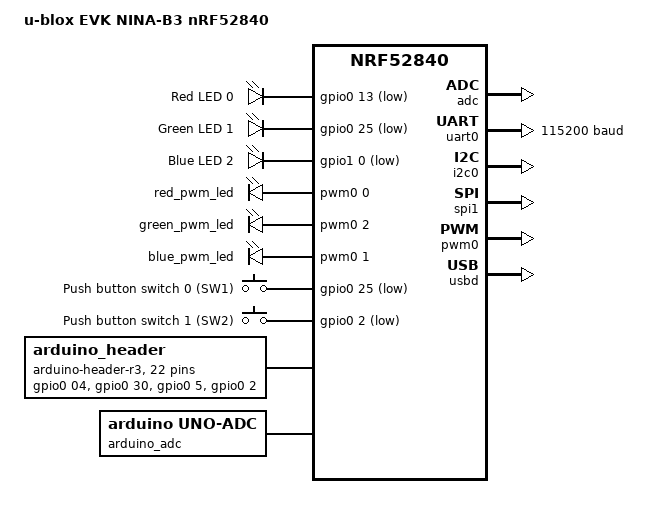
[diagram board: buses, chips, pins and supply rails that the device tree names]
/*
 * Copyright (c) 2021 u-blox AG
 *
 * SPDX-License-Identifier: Apache-2.0
 */

/dts-v1/;
#include <nordic/nrf52840_qiaa.dtsi>
#include "ubx_evkninab3_nrf52840-pinctrl.dtsi"

/ {
	model = "u-blox EVK NINA-B3 nRF52840";
	compatible = "nordic,ubx_evkninab3_nrf52840";

	chosen {
		zephyr,console = &uart0;
		zephyr,shell-uart = &uart0;
		zephyr,uart-mcumgr = &uart0;
		zephyr,bt-mon-uart = &uart0;
		zephyr,bt-c2h-uart = &uart0;
		zephyr,sram = &sram0;
		zephyr,flash = &flash0;
		zephyr,code-partition = &slot0_partition;
	};

	leds {
		compatible = "gpio-leds";
		led0: led_0 {
			gpios = <&gpio0 13 GPIO_ACTIVE_LOW>;
			label = "Red LED 0";
		};
		led1: led_1 {
			gpios = <&gpio0 25 GPIO_ACTIVE_LOW>;
			label = "Green LED 1";
		};
		led2: led_2 {
			gpios = <&gpio1 0 GPIO_ACTIVE_LOW>;
			label = "Blue LED 2";
		};
	};

	pwmleds {
		compatible = "pwm-leds";
		red_pwm_led: red_pwm_led {
			pwms = <&pwm0 0 PWM_MSEC(20) PWM_POLARITY_INVERTED>;
		};
		green_pwm_led: green_pwm_led {
			pwms = <&pwm0 2 PWM_MSEC(20) PWM_POLARITY_INVERTED>;
		};
		blue_pwm_led: blue_pwm_led {
			pwms = <&pwm0 1 PWM_MSEC(20) PWM_POLARITY_INVERTED>;
		};
	};

	buttons {
		compatible = "gpio-keys";
		button0: button_0 {
			gpios = <&gpio0 25 (GPIO_PULL_UP | \
					    GPIO_ACTIVE_LOW)>;
			label = "Push button switch 0 (SW1)";
		};
		button1: button_1 {
			gpios = <&gpio0 2 (GPIO_PULL_UP | \
					   GPIO_ACTIVE_LOW)>;
			label = "Push button switch 1 (SW2)";
		};
	};

	arduino_header: connector {
		compatible = "arduino-header-r3";
		#gpio-cells = <2>;
		gpio-map-mask = <0xffffffff 0xffffffc0>;
		gpio-map-pass-thru = <0 0x3f>;
		gpio-map = <0 0 &gpio0 04 0>,	/* A0 */
			   <1 0 &gpio0 30 0>,	/* A1 */
			   <2 0 &gpio0 5 0>,	/* A2 */
			   <3 0 &gpio0 2 0>,	/* A3 */
			   <4 0 &gpio0 28 0>,	/* A4 */
			   <5 0 &gpio0 3 0>,	/* A5 */
			   <6 0 &gpio0 29 0>,	/* D0 */
			   <7 0 &gpio1 13 0>,	/* D1 */
			   <8 0 &gpio1 12 0>,	/* D2 */
			   <9 0 &gpio0 31 0>,	/* D3 */
			   <10 0 &gpio0 13 0>,	/* D4 */
			   <11 0 &gpio0 11 0>,	/* D5 */
			   <12 0 &gpio0 9 0>,	/* D6 */
			   <13 0 &gpio0 10 0>,	/* D7 */
			   <14 0 &gpio1 9 0>,	/* D8 */
			   <15 0 &gpio0 12 0>,	/* D9 */
			   <16 0 &gpio0 14 0>,	/* D10 */
			   <17 0 &gpio0 15 0>,	/* D11 */
			   <18 0 &gpio1 0 0>,	/* D12 */
			   <19 0 &gpio0 7 0>,	/* D13 */
			   <20 0 &gpio0 16 0>,	/* D14 */
			   <21 0 &gpio0 24 0>;	/* D15 */
	};

	arduino_adc: analog-connector {
		compatible = "arduino,uno-adc";
		#io-channel-cells = <1>;
		io-channel-map = <0 &adc 2>,	/* A0 = P0.04 = AIN2 */
				 <1 &adc 6>,	/* A1 = P0.30 = AIN6 */
				 <2 &adc 3>,	/* A2 = P0.5 = AIN3 */
				 <3 &adc 0>,	/* A3 = P0.2 = AIN0 */
				 <4 &adc 4>,	/* A4 = P0.28 = AIN4 */
				 <5 &adc 1>;	/* A5 = P0.3 = AIN1 */
	};

	/* These aliases are provided for compatibility with samples */
	aliases {
		led0 = &led0;
		led1 = &led1;
		led2 = &led2;
		pwm-led0 = &red_pwm_led;
		pwm-led1 = &green_pwm_led;
		pwm-led2 = &blue_pwm_led;
		red-pwm-led = &red_pwm_led;
		green-pwm-led = &green_pwm_led;
		blue-pwm-led = &blue_pwm_led;
		sw0 = &button0;
		sw1 = &button1;
	};
};

&adc {
	status = "okay";
};

&gpiote {
	status = "okay";
};

&gpio0 {
	status = "okay";
};

&gpio1 {
	status = "okay";
};

&uart0 {
	compatible = "nordic,nrf-uarte";
	status = "okay";
	current-speed = <115200>;
	pinctrl-0 = <&uart0_default>;
	pinctrl-1 = <&uart0_sleep>;
	pinctrl-names = "default", "sleep";
};

arduino_i2c: &i2c0 {
	compatible = "nordic,nrf-twi";
	status = "okay";
	pinctrl-0 = <&i2c0_default>;
	pinctrl-1 = <&i2c0_sleep>;
	pinctrl-names = "default", "sleep";
};

&spi0 {
	compatible = "nordic,nrf-spi";
	/* Cannot be used together with i2c0. */
	/* status = "okay"; */
	pinctrl-0 = <&spi0_default>;
	pinctrl-1 = <&spi0_sleep>;
	pinctrl-names = "default", "sleep";
};

&spi1 {
	compatible = "nordic,nrf-spi";
	status = "okay";
	pinctrl-0 = <&spi1_default>;
	pinctrl-1 = <&spi1_sleep>;
	pinctrl-names = "default", "sleep";
};

&pwm0 {
	status = "okay";
	pinctrl-0 = <&pwm0_default>;
	pinctrl-1 = <&pwm0_sleep>;
	pinctrl-names = "default", "sleep";
};

&flash0 {

	partitions {
		compatible = "fixed-partitions";
		#address-cells = <1>;
		#size-cells = <1>;

		boot_partition: partition@0 {
			label = "mcuboot";
			reg = <0x00000000 0x0000C000>;
		};
		slot0_partition: partition@c000 {
			label = "image-0";
			reg = <0x0000C000 0x00067000>;
		};
		slot1_partition: partition@73000 {
			label = "image-1";
			reg = <0x00073000 0x00067000>;
		};
		scratch_partition: partition@da000 {
			label = "image-scratch";
			reg = <0x000da000 0x0001e000>;
		};

		/*
		 * The flash starting at 0x000f8000 and ending at
		 * 0x000fffff is reserved for use by the application.
		 */

		/*
		 * Storage partition will be used by FCB/LittleFS/NVS
		 * if enabled.
		 */
		storage_partition: partition@f8000 {
			label = "storage";
			reg = <0x000f8000 0x00008000>;
		};
	};
};

zephyr_udc0: &usbd {
	compatible = "nordic,nrf-usbd";
	status = "okay";
};
